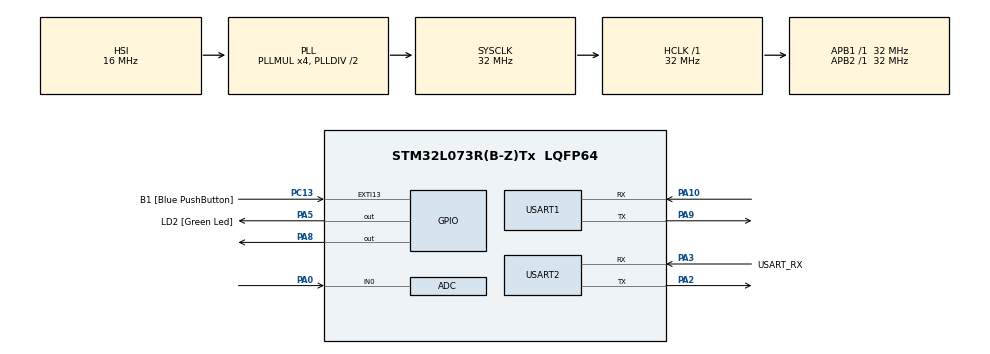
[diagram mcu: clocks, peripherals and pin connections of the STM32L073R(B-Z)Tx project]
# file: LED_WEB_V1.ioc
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ADC.SamplingTime=ADC_SAMPLETIME_79CYCLES_5
Mcu.Family=STM32L0
Mcu.Name=STM32L073R(B-Z)Tx
Mcu.Package=LQFP64
NVIC.USART1_IRQn=true\:0\:0\:false\:false\:true\:true\:true\:true
NVIC.USART2_IRQn=true\:0\:0\:false\:false\:true\:true\:true\:true
PA0.Mode=IN0
PA0.Signal=ADC_IN0
PA10.Mode=Asynchronous
PA10.Signal=USART1_RX
PA13.GPIO_Label=TMS
PA13.Mode=Serial_Wire
PA13.Signal=SYS_SWDIO
PA14.GPIO_Label=TCK
PA14.Mode=Serial_Wire
PA14.Signal=SYS_SWCLK
PA2.Mode=Asynchronous
PA2.Signal=USART2_TX
PA3.GPIO_Label=USART_RX
PA3.Mode=Asynchronous
PA3.Signal=USART2_RX
PA5.GPIO_Label=LD2 [Green Led]
PA5.Signal=GPIO_Output
PA8.Signal=GPIO_Output
PA9.Mode=Asynchronous
PA9.Signal=USART1_TX
PC13.GPIO_Label=B1 [Blue PushButton]
PC13.GPIO_ModeDefaultEXTI=GPIO_MODE_IT_FALLING
PC13.Signal=GPXTI13
PC14-OSC32_IN.Mode=LSE-External-Oscillator
PC14-OSC32_IN.Signal=RCC_OSC32_IN
PC15-OSC32_OUT.Mode=LSE-External-Oscillator
PC15-OSC32_OUT.Signal=RCC_OSC32_OUT
PH0-OSC_IN.GPIO_Label=MCO
PH0-OSC_IN.Mode=HSE-External-Oscillator
PH0-OSC_IN.Signal=RCC_OSC_IN
PH1-OSC_OUT.Mode=HSE-External-Oscillator
PH1-OSC_OUT.Signal=RCC_OSC_OUT
ProjectManager.HeapSize=0x200
ProjectManager.StackSize=0x400
ProjectManager.TargetToolchain=STM32CubeIDE
RCC.AHBFreq_Value=32000000
RCC.APB1Freq_Value=32000000
RCC.APB1TimFreq_Value=32000000
RCC.APB2Freq_Value=32000000
RCC.APB2TimFreq_Value=32000000
RCC.HCLKFreq_Value=32000000
RCC.HSE_VALUE=8000000
RCC.HSI16_VALUE=16000000
RCC.HSI48_VALUE=48000000
RCC.HSI_VALUE=16000000
RCC.MSI_VALUE=2097000
RCC.PLLMUL=RCC_PLLMUL_4
RCC.SYSCLKFreq_VALUE=32000000
RCC.SYSCLKSource=RCC_SYSCLKSOURCE_PLLCLK
RCC.VCOOutputFreq_Value=64000000
USART1.VirtualMode-Asynchronous=VM_ASYNC
USART2.VirtualMode-Asynchronous=VM_ASYNC
board=NUCLEO-L073RZ

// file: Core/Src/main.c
/* USER CODE BEGIN Header */
/**
  ******************************************************************************
  * @file           : main.c
  * @brief          : Main program body
  ******************************************************************************
  * @attention
  *
  * Copyright (c) 2026 STMicroelectronics.
  * All rights reserved.
  *
  * This software is licensed under terms that can be found in the LICENSE file
  * in the root directory of this software component.
  * If no LICENSE file comes with this software, it is provided AS-IS.
  *
  ******************************************************************************
  */
/* USER CODE END Header */
#include "main.h"

/* USER CODE BEGIN Includes */
#include "ESP8266_HAL.h"
#include <stdio.h> // Aggiunto per l'utilizzo di printf (Modalità Trace)
/* USER CODE END Includes */

/* USER CODE BEGIN PD */
#define TRACE 1 // 1 = Modalità Trace Attiva, 0 = Disattivata
/* USER CODE END PD */

ADC_HandleTypeDef hadc;

UART_HandleTypeDef huart1;
UART_HandleTypeDef huart2;

void SystemClock_Config(void);
static void MX_GPIO_Init(void);
static void MX_USART1_UART_Init(void);
static void MX_USART2_UART_Init(void);
static void MX_ADC_Init(void);

/* USER CODE BEGIN 0 */
uint32_t read_adc(void) {
    uint32_t val = 0;

    #if TRACE == 1
    printf("TRACE: Avvio lettura ADC...\r\n");
    #endif

    HAL_ADC_Start(&hadc); // Avvia l'ADC
    if (HAL_ADC_PollForConversion(&hadc, 10) == HAL_OK) {
        val = HAL_ADC_GetValue(&hadc); // Legge il valore (0-4095)
        int temp = (int)((val * 330.0) / 4095.0);
        #if TRACE == 1
        printf("TRACE: ADC letto correttamente. Valore: %d\r\n", temp);
        #endif
    }
    HAL_ADC_Stop(&hadc);
    return val;
}
/* USER CODE END 0 */

int main(void)
{

  /* MCU Configuration--------------------------------------------------------*/

  /* Reset of all peripherals, Initializes the Flash interface and the Systick. */
  HAL_Init();

  /* Configure the system clock */
  SystemClock_Config();

  /* Initialize all configured peripherals */
  MX_GPIO_Init();
  MX_USART1_UART_Init();
  MX_USART2_UART_Init();
  MX_ADC_Init();
  /* USER CODE BEGIN 2 */

  #if TRACE == 1
  printf("TRACE: Inizializzazione ESP8266...\r\n");
  #endif

  ESP_Init("FABLAB-2-4", "fablab22");

  #if TRACE == 1
  printf("TRACE: ESP inizializzato. Pronto per il loop.\r\n");
  #endif

  /* USER CODE END 2 */

  /* Infinite loop */
  while (1)
  {

    /* USER CODE BEGIN 3 */
    #if TRACE == 1
    printf("TRACE: Chiamata a Server_Start()...\r\n");
    #endif

    Server_Start();
  }
  /* USER CODE END 3 */
}

void SystemClock_Config(void)
{
  RCC_OscInitTypeDef RCC_OscInitStruct = {0};
  RCC_ClkInitTypeDef RCC_ClkInitStruct = {0};
  RCC_PeriphCLKInitTypeDef PeriphClkInit = {0};

  /** Configure the main internal regulator output voltage
  */
  __HAL_PWR_VOLTAGESCALING_CONFIG(PWR_REGULATOR_VOLTAGE_SCALE1);

  /** Initializes the RCC Oscillators according to the specified parameters
  * in the RCC_OscInitTypeDef structure.
  */
  RCC_OscInitStruct.OscillatorType = RCC_OSCILLATORTYPE_HSI;
  RCC_OscInitStruct.HSIState = RCC_HSI_ON;
  RCC_OscInitStruct.HSICalibrationValue = RCC_HSICALIBRATION_DEFAULT;
  RCC_OscInitStruct.PLL.PLLState = RCC_PLL_ON;
  RCC_OscInitStruct.PLL.PLLSource = RCC_PLLSOURCE_HSI;
  RCC_OscInitStruct.PLL.PLLMUL = RCC_PLLMUL_4;
  RCC_OscInitStruct.PLL.PLLDIV = RCC_PLLDIV_2;
  if (HAL_RCC_OscConfig(&RCC_OscInitStruct) != HAL_OK)
  {
    Error_Handler();
  }

  /** Initializes the CPU, AHB and APB buses clocks
  */
  RCC_ClkInitStruct.ClockType = RCC_CLOCKTYPE_HCLK|RCC_CLOCKTYPE_SYSCLK
                              |RCC_CLOCKTYPE_PCLK1|RCC_CLOCKTYPE_PCLK2;
  RCC_ClkInitStruct.SYSCLKSource = RCC_SYSCLKSOURCE_PLLCLK;
  RCC_ClkInitStruct.AHBCLKDivider = RCC_SYSCLK_DIV1;
  RCC_ClkInitStruct.APB1CLKDivider = RCC_HCLK_DIV1;
  RCC_ClkInitStruct.APB2CLKDivider = RCC_HCLK_DIV1;

  if (HAL_RCC_ClockConfig(&RCC_ClkInitStruct, FLASH_LATENCY_1) != HAL_OK)
  {
    Error_Handler();
  }
  PeriphClkInit.PeriphClockSelection = RCC_PERIPHCLK_USART1|RCC_PERIPHCLK_USART2;
  PeriphClkInit.Usart1ClockSelection = RCC_USART1CLKSOURCE_PCLK2;
  PeriphClkInit.Usart2ClockSelection = RCC_USART2CLKSOURCE_PCLK1;
  if (HAL_RCCEx_PeriphCLKConfig(&PeriphClkInit) != HAL_OK)
  {
    Error_Handler();
  }
}

static void MX_ADC_Init(void)
{

  ADC_ChannelConfTypeDef sConfig = {0};

  hadc.Instance = ADC1;
  hadc.Init.OversamplingMode = DISABLE;
  hadc.Init.ClockPrescaler = ADC_CLOCK_SYNC_PCLK_DIV2;
  hadc.Init.Resolution = ADC_RESOLUTION_12B;
  hadc.Init.SamplingTime = ADC_SAMPLETIME_79CYCLES_5;
  hadc.Init.ScanConvMode = ADC_SCAN_DIRECTION_FORWARD;
  hadc.Init.DataAlign = ADC_DATAALIGN_RIGHT;
  hadc.Init.ContinuousConvMode = DISABLE;
  hadc.Init.DiscontinuousConvMode = DISABLE;
  hadc.Init.ExternalTrigConvEdge = ADC_EXTERNALTRIGCONVEDGE_NONE;
  hadc.Init.ExternalTrigConv = ADC_SOFTWARE_START;
  hadc.Init.DMAContinuousRequests = DISABLE;
  hadc.Init.EOCSelection = ADC_EOC_SINGLE_CONV;
  hadc.Init.Overrun = ADC_OVR_DATA_PRESERVED;
  hadc.Init.LowPowerAutoWait = DISABLE;
  hadc.Init.LowPowerFrequencyMode = DISABLE;
  hadc.Init.LowPowerAutoPowerOff = DISABLE;
  if (HAL_ADC_Init(&hadc) != HAL_OK)
  {
    Error_Handler();
  }

  sConfig.Channel = ADC_CHANNEL_0;
  sConfig.Rank = ADC_RANK_CHANNEL_NUMBER;
  if (HAL_ADC_ConfigChannel(&hadc, &sConfig) != HAL_OK)
  {
    Error_Handler();
  }
}

static void MX_USART1_UART_Init(void)
{
  huart1.Instance = USART1;
  huart1.Init.BaudRate = 115200;
  huart1.Init.WordLength = UART_WORDLENGTH_8B;
  huart1.Init.StopBits = UART_STOPBITS_1;
  huart1.Init.Parity = UART_PARITY_NONE;
  huart1.Init.Mode = UART_MODE_TX_RX;
  huart1.Init.HwFlowCtl = UART_HWCONTROL_NONE;
  huart1.Init.OverSampling = UART_OVERSAMPLING_16;
  huart1.Init.OneBitSampling = UART_ONE_BIT_SAMPLE_DISABLE;
  huart1.AdvancedInit.AdvFeatureInit = UART_ADVFEATURE_NO_INIT;
  if (HAL_UART_Init(&huart1) != HAL_OK)
  {
    Error_Handler();
  }
}

static void MX_USART2_UART_Init(void)
{
  huart2.Instance = USART2;
  huart2.Init.BaudRate = 115200;
  huart2.Init.WordLength = UART_WORDLENGTH_8B;
  huart2.Init.StopBits = UART_STOPBITS_1;
  huart2.Init.Parity = UART_PARITY_NONE;
  huart2.Init.Mode = UART_MODE_TX_RX;
  huart2.Init.HwFlowCtl = UART_HWCONTROL_NONE;
  huart2.Init.OverSampling = UART_OVERSAMPLING_16;
  huart2.Init.OneBitSampling = UART_ONE_BIT_SAMPLE_DISABLE;
  huart2.AdvancedInit.AdvFeatureInit = UART_ADVFEATURE_NO_INIT;
  if (HAL_UART_Init(&huart2) != HAL_OK)
  {
    Error_Handler();
  }
}

static void MX_GPIO_Init(void)
{
  GPIO_InitTypeDef GPIO_InitStruct = {0};

  /* GPIO Ports Clock Enable */
  __HAL_RCC_GPIOC_CLK_ENABLE();
  __HAL_RCC_GPIOH_CLK_ENABLE();
  __HAL_RCC_GPIOA_CLK_ENABLE();

  /*Configure GPIO pin Output Level */
  HAL_GPIO_WritePin(GPIOA, LD2_Pin|GPIO_PIN_8, GPIO_PIN_RESET);

  /*Configure GPIO pin : B1_Pin */
  GPIO_InitStruct.Pin = B1_Pin;
  GPIO_InitStruct.Mode = GPIO_MODE_IT_FALLING;
  GPIO_InitStruct.Pull = GPIO_NOPULL;
  HAL_GPIO_Init(B1_GPIO_Port, &GPIO_InitStruct);

  /*Configure GPIO pins : LD2_Pin PA8 */
  GPIO_InitStruct.Pin = LD2_Pin|GPIO_PIN_8;
  GPIO_InitStruct.Mode = GPIO_MODE_OUTPUT_PP;
  GPIO_InitStruct.Pull = GPIO_NOPULL;
  GPIO_InitStruct.Speed = GPIO_SPEED_FREQ_LOW;
  HAL_GPIO_Init(GPIOA, &GPIO_InitStruct);
}

/* USER CODE BEGIN 4 */
/**
  * Reindirizzamento di printf su UART.
  * In questo esempio usa huart2 (quella collegata alla USB/ST-Link su Nucleo).
  */
int __io_putchar(int ch) {
    HAL_UART_Transmit(&huart2, (uint8_t *)&ch, 1, HAL_MAX_DELAY);
    return ch;
}
/* USER CODE END 4 */

void Error_Handler(void)
{
  __disable_irq();
  while (1)
  {
  }
}
